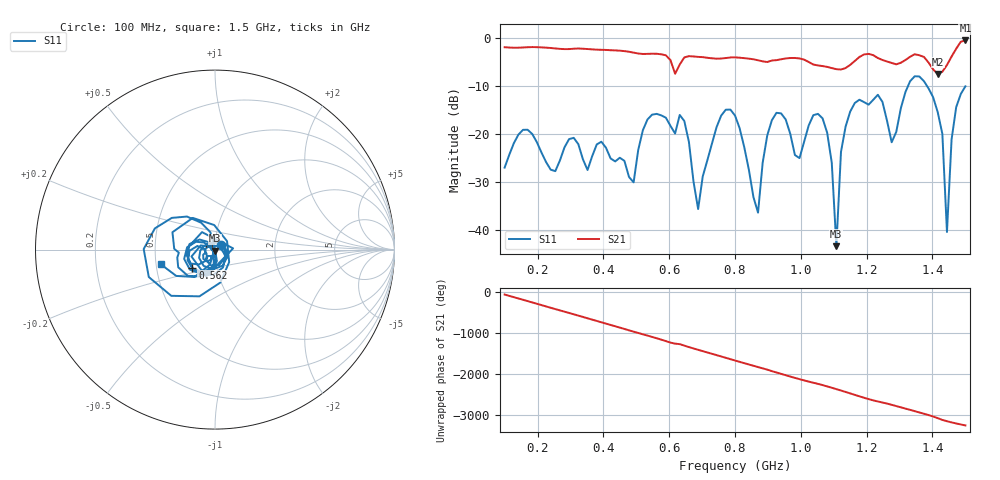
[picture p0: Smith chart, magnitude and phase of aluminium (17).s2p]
! NanoVNA-App
! Date: 2025-09-25 14:55:24
! Start: 100MHz Stop: 1,5GHz Points: 101
! S-Parameter data: F S11 S21 S12 S22
# Hz S RI R 50
!  Frequency  S11_Real  S11_Imag  S21_Real  S21_Imag  S12_Real  S12_Imag  S22_Real  S22_Imag
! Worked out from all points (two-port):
!   101 points, 100 MHz to 1.5 GHz, reference 50 ohm
!   highest |S21| = -0.51 dB at 1.5 GHz (marker M1); lowest = -7.5 dB at 1.416 GHz (marker M2)
!   |S21| within 3 dB of the highest: start of sweep to 583.7 MHz; 1.461 GHz to end of sweep (the widest 2 of 4)
!   lowest |S11| = -43.4 dB at 1.108 GHz (marker M3), VSWR 1.01, Z = 50.1 - j0.667 ohm
!   |S11| at or under -10 dB: start of sweep to 1.326 GHz; 1.383 GHz to end of sweep
!   S12 and S22 are empty: the file has one direction only
!   S11 on the Smith chart (normalised r, x): 100 MHz: 1.07, +0.06; 562 MHz: 0.76, -0.16; 1.5 GHz: 0.53, -0.09
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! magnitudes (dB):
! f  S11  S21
! 100 MHz  -27.0  -1.9
! 338 MHz  -25.3  -2.2
! 492 MHz  -30.1  -3.1
! 562 MHz  -15.8  -3.3
! 576 MHz  -16.1  -3.4
! 646 MHz  -17.3  -4.0
! 688 MHz  -35.6  -3.9
! 800 MHz  -16.1  -4.0
! 870 MHz  -36.4  -4.6
! 912 MHz  -17.1  -4.7
! 996 MHz  -25.0  -4.3
! 1.038 GHz  -16.1  -5.5
! 1.08 GHz  -19.7  -6.0
! 1.108 GHz  -43.4  -6.5
! 1.122 GHz  -23.7  -6.6
! 1.15 GHz  -15.3  -5.6
! 1.276 GHz  -21.7  -5.2
! 1.346 GHz  -8.0  -3.4
! 1.416 GHz  -15.5  -7.5
! 1.444 GHz  -40.4  -5.6
! 1.458 GHz  -21.1  -3.9
! 1.5 GHz  -10.1  -0.5
